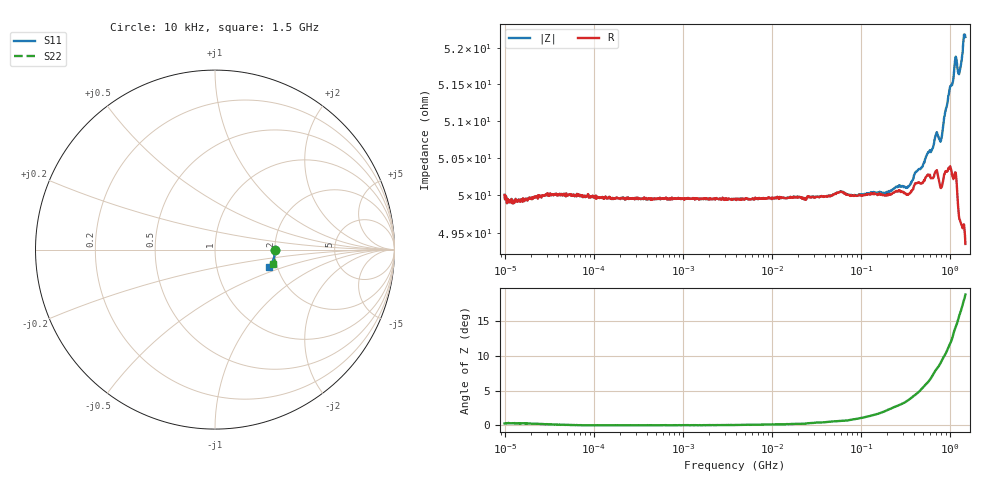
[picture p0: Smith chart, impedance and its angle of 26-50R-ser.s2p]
#  HZ  S  DB  R  50.00
! Rohde & Schwarz Vector Network Analyzer
! Rohde-Schwarz,ZNB8-4Port,1334333044101560,3.32
! Created: UTC 3/21/2023, 5:13:50 PM
! freq[Hz]  db:S11  ang:S11  db:S41  ang:S41  db:S14  ang:S14  db:S44  ang:S44
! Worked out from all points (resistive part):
!   1001 points, 10 kHz to 1.5 GHz, reference 50 ohm
!   read as one part in series: R = 49.9 ohm at 10.61 kHz
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10000  -9.56 -0.3  -3.52 -0.2  -3.52 -0.2  -9.51 -0.1
12245.98  -9.56 -0.3  -3.52 -0.3  -3.52 -0.3  -9.57 -0.2
20689.1  -9.60 0.1  -3.54 -0.1  -3.53 -0.1  -9.59 0.1
73182.5  -9.55 0.1  -3.52 0.0  -3.52 0.0  -9.55 0.1
535567.8  -9.55 0.0  -3.52 0.0  -3.52 0.0  -9.54 0.0
3872983  -9.54 -0.1  -3.52 -0.0  -3.51 -0.0  -9.55 -0.1
1.59956e7  -9.55 -0.2  -3.52 -0.2  -3.52 -0.2  -9.55 -0.2
2.834346e7  -9.55 -0.4  -3.52 -0.4  -3.52 -0.3  -9.54 -0.4
7.442456e7  -9.55 -0.9  -3.52 -0.8  -3.52 -0.8  -9.55 -0.8
1.383162e8  -9.55 -1.8  -3.53 -1.6  -3.52 -1.6  -9.54 -1.7
2.074245e8  -9.57 -2.7  -3.53 -2.4  -3.53 -2.5  -9.53 -2.6
2.827734e8  -9.59 -3.7  -3.54 -3.2  -3.54 -3.3  -9.53 -3.5
3.42181e8  -9.59 -4.6  -3.53 -3.9  -3.54 -4.0  -9.51 -4.2
4.554934e8  -9.57 -6.1  -3.55 -5.3  -3.56 -5.3  -9.51 -5.5
6.06329e8  -9.56 -7.7  -3.56 -7.0  -3.57 -7.1  -9.48 -7.1
7.604209e8  -9.64 -9.5  -3.56 -8.8  -3.59 -8.9  -9.43 -8.6
1.00024e9  -9.70 -12.5  -3.62 -11.8  -3.65 -11.9  -9.43 -10.7
1.100304e9  -9.71 -13.3  -3.61 -13.1  -3.65 -13.1  -9.41 -11.3
1.19604e9  -9.82 -14.1  -3.64 -14.2  -3.67 -14.3  -9.41 -11.9
1.315692e9  -9.96 -16.0  -3.64 -15.8  -3.68 -16.0  -9.48 -13.1
1.430167e9  -9.99 -17.5  -3.68 -17.3  -3.72 -17.4  -9.55 -13.8
1.5e9  -10.02 -18.1  -3.67 -18.1  -3.72 -18.2  -9.58 -14.0
